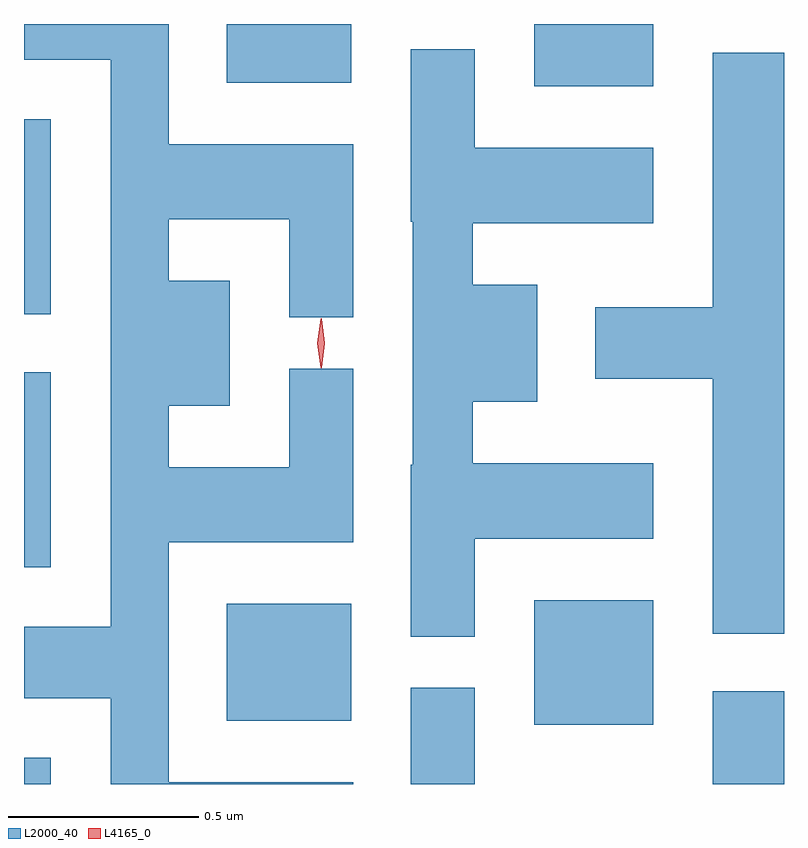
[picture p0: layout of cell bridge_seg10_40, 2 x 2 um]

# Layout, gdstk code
import gdstk
lib = gdstk.Library(unit=1e-6, precision=1e-09)
def R(c, l, rs):  # rectangles x0, y0, x1, y1
    for r in rs: c.add(gdstk.rectangle(r[:2], r[2:], *l))
def P(c, l, *ps):  # polygons
    for p in ps: c.add(gdstk.Polygon(p, *l))
L2000_40 = (2000, 40)
L4165_0 = (4165, 0)

bridge_seg10_40 = lib.new_cell('bridge_seg10_40')
R(bridge_seg10_40, L2000_40, [(1749.353,2164.65,1749.424,2164.719), (1750.371,2164.65,1750.539,2164.903), (1751.166,2164.65,1751.353,2164.894), (1750.696,2164.806,1751.009,2165.134), (1749.886,2164.816,1750.214,2165.124), (1749.353,2165.221,1749.424,2165.734), (1749.353,2165.886,1749.424,2166.399), (1750.696,2166.486,1751.009,2166.65), (1749.886,2166.496,1750.214,2166.65)])
P(bridge_seg10_40, L2000_40, [(1750.219,2164.654),(1749.734,2164.654),(1749.734,2165.286),(1750.219,2165.286),(1750.219,2165.743),(1750.051,2165.743),(1750.051,2165.484),(1749.734,2165.484),(1749.734,2165.646),(1749.894,2165.646),(1749.894,2165.974),(1749.734,2165.974),(1749.734,2166.136),(1750.051,2166.136),(1750.051,2165.878),(1750.219,2165.878),(1750.219,2166.334),(1749.734,2166.334),(1749.734,2166.65),(1749.353,2166.65),(1749.353,2166.556),(1749.581,2166.556),(1749.581,2165.064),(1749.353,2165.064),(1749.353,2164.876),(1749.581,2164.876),(1749.581,2164.65),(1750.219,2164.65)],
  [(1750.539,2165.296),(1751.009,2165.296),(1751.009,2165.494),(1750.534,2165.494),(1750.534,2165.656),(1750.704,2165.656),(1750.704,2165.964),(1750.534,2165.964),(1750.534,2166.126),(1751.009,2166.126),(1751.009,2166.324),(1750.539,2166.324),(1750.539,2166.583),(1750.371,2166.583),(1750.371,2166.13),(1750.376,2166.13),(1750.376,2165.49),(1750.371,2165.49),(1750.371,2165.038),(1750.539,2165.038)],
  [(1751.353,2166.574),(1751.166,2166.574),(1751.166,2165.904),(1750.856,2165.904),(1750.856,2165.716),(1751.166,2165.716),(1751.166,2165.046),(1751.353,2165.046)])
P(bridge_seg10_40, L4165_0, [(1750.135,2165.744),(1750.134,2165.745),(1750.125,2165.81),(1750.134,2165.875),(1750.135,2165.876),(1750.136,2165.875),(1750.145,2165.81),(1750.136,2165.745)])

lib.write_gds('bridge_seg10_40.gds')
